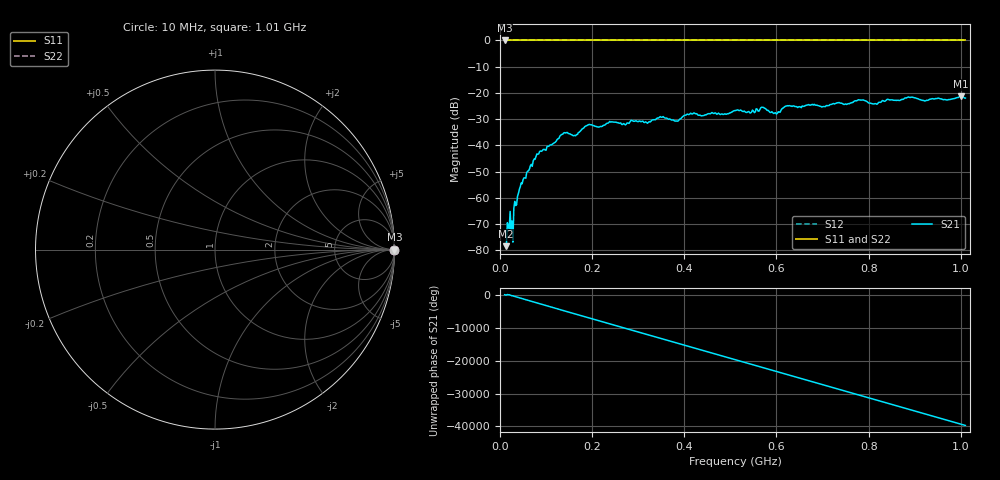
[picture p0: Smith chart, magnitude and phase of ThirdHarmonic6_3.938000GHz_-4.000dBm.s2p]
! 8/17/2025 1:55:56 PM
! C:\ANRITSUVNA\TEMP\TEMP.S2P
! CHANNEL.1
! TR.MEASUREMENT
! RAW.DATA
! RF.CORRECTION.OFF
! AVERAGING.OFF
! IF.BANDWIDTH: 5KHZ
! SWEEPTYPE:  FREQ.SWEEP(Linear)
! Reference Plane Port Info
! PORT:  PORT1  PORT2
! DISTANCE:  0  m  0  m
! TIME:  0  s  0  s
! PHASE.OFFSET:  0  deg.  0  deg.
! LOSS:  0  dB  0  dB
! REF.LOSS:  0  dB  0  dB
! REF.FREQ:  0  Hz  0  Hz
! Power Info
! POWER:  -20  dBm  -20  dBm
! EFF.POWER:  -20  dBm  -20  dBm
! SOURCE.ATTEN:  0  dB  0  dB
! TEST.ATTEN:  0  dB  0  dB
# GHZ S RI R 50.0
! FREQ.GHZ  S11RE  S11IM  S21RE  S21IM  S12RE  S12IM  S22RE  S22IM
!; PortSelection: Port_12
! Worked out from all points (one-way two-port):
!   501 points, 10 MHz to 1.01 GHz, reference 50 ohm
!   highest |S21| = -21.31 dB at 1 GHz (marker M1); lowest = -78.4 dB at 12 MHz (marker M2)
!   lowest |S11| = 0.0 dB at 10 MHz (marker M3)
!   |S11| at or under -10 dB: nowhere
!   |S22| runs from 0.0 to 0.0 dB; largest |S21 - S12| = 1.1
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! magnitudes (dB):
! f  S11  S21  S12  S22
! 10 MHz  0.0  -77.9  0.0  0.0
! 12 MHz  0.0  -78.4  0.0  0.0
! 20 MHz  0.0  -71.6  0.0  0.0
! 24 MHz  0.0  -72.0  0.0  0.0
! 28 MHz  0.0  -76.8  0.0  0.0
! 34 MHz  0.0  -62.9  0.0  0.0
! 46 MHz  0.0  -54.3  0.0  0.0
! 78 MHz  0.0  -44.3  0.0  0.0
! 136 MHz  0.0  -35.7  0.0  0.0
! 164 MHz  0.0  -36.3  0.0  0.0
! 178 MHz  0.0  -33.8  0.0  0.0
! 344 MHz  0.0  -29.6  0.0  0.0
! 384 MHz  0.0  -30.7  0.0  0.0
! 410 MHz  0.0  -28.3  0.0  0.0
! 510 MHz  0.0  -26.7  0.0  0.0
! 570 MHz  0.0  -25.4  0.0  0.0
! 598 MHz  0.0  -27.5  0.0  0.0
! 622 MHz  0.0  -24.9  0.0  0.0
! 678 MHz  0.0  -24.4  0.0  0.0
! 844 MHz  0.0  -22.6  0.0  0.0
! 1 GHz  0.0  -21.3  0.0  0.0
! 1.01 GHz  0.0  -21.9  0.0  0.0
